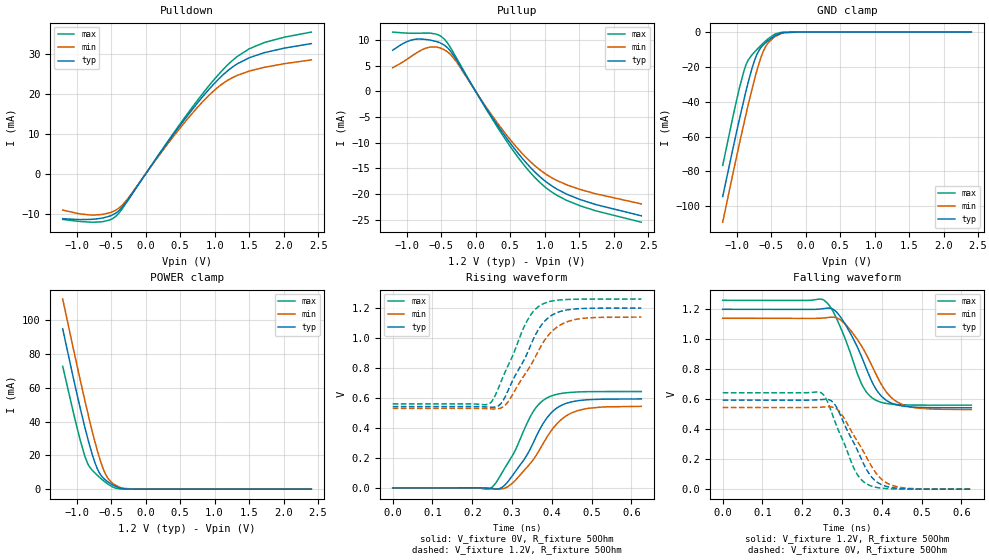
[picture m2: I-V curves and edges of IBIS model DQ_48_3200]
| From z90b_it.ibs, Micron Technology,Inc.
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| MODEL DQ_48_3200 (48 Ohm Data I/O with no ODT, 2933/3200Mbps)
[Model]   DQ_48_3200
Model_type   I/O
Vinl = 860.000mV
Vinh = 1060.000mV
Vmeas = 960.000mV
Vref = 1200.000mV
Cref = 0.0pF
Rref = 50.000Ohm
|   typ   min   max
|C_comp   1.049pF   0.999pF   1.100pF
C_comp_pullup   0.5245pF   0.4995pF   0.5500pF
C_comp_pulldown   0.5245pF   0.4995pF   0.5500pF
[Model Spec]
| Timing spec test load voltage corners
Vref   1.2000V   1.1400V   1.2600V
| Dynamic Overshoot Parameters from DDR4 Specification
|D_overshoot_ampl_h   0.40   NA   NA
|D_overshoot_ampl_l   0.40   NA   NA
|D_overshoot_area_h   0.0600n   NA   NA
|D_overshoot_area_l   0.0600n   NA   NA
[Voltage Range]   1.2000V   1.1400V   1.2600V
| Junction Temperature (Ambient temp is 35C typ, 95C min, -40C max)
[Temperature Range]   50.0   110.0   -40.0
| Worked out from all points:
|   slope of the pulldown table from 0 to 0.18 V, typ, clamps not added: 40.1 ohm
|   slope of the pullup table from 0 to 0.18 V, typ, clamps not added: 47.1 ohm
|   GND clamp passes 1 mA (typ) near -0.38 V on its own axis
|   POWER clamp passes 1 mA (typ) near -0.39 V on its own axis
|   falling waveform, V_fixture 1.2V, R_fixture 50Ohm: 20-80 % time 68.9ps typ, 77ps min, 60.1ps max; typ from 1.2 V to 0.543 V
|   rising waveform, V_fixture 0V, R_fixture 50Ohm: 20-80 % time 79.3ps typ, 87.9ps min, 73.7ps max; typ from 0 V to 0.594 V
|   rising waveform, V_fixture 1.2V, R_fixture 50Ohm: 20-80 % time 74.9ps typ, 83.4ps min, 68.1ps max; typ from 0.543 V to 1.2 V
|   falling waveform, V_fixture 0V, R_fixture 50Ohm: 20-80 % time 65.5ps typ, 71.6ps min, 58.3ps max; typ from 0.594 V to 0 V
[Pulldown]
|   Voltage   I(typ)   I(min)   I(max)
-1.2V     -11.19mA   -9.036mA   -11.37mA
-756mV    -11.32mA   -10.27mA   -12.07mA
-610.3mV  -10.98mA   -10.07mA   -11.91mA
-439mV    -9.882mA   -9.116mA   -10.72mA
-270mV    -6.804mA   -6.465mA   -6.985mA
313.2mV   7.736mA    7.367mA    7.95mA
744.8mV   17.62mA    16.55mA    18.28mA
991.1mV   22.56mA    20.86mA    23.6mA
1.205V    26.06mA    23.6mA     27.57mA
1.499V    29.07mA    25.73mA    31.3mA
1.717V    30.33mA    26.67mA    32.87mA
2.4V      32.63mA    28.55mA    35.5mA
[GND Clamp]
|   Voltage   I(typ)   I(min)   I(max)
-1.2V     -94.51mA   -109.2mA   -76.61mA
-991.4mV  -56.02mA   -70.17mA   -37.83mA
-886.3mV  -37.8mA    -51.36mA   -21.52mA
-858.5mV  -33.25mA   -46.56mA   -18.42mA
-739.2mV  -16.33mA   -27.13mA   -11.47mA
-646.9mV  -8.927mA   -14.7mA    -7.681mA
-585.5mV  -6.376mA   -8.839mA   -5.366mA
-545.6mV  -5.017mA   -6.322mA   -3.982mA
-459.1mV  -2.504mA   -3.107mA   -1.514mA
-316.8mV  -264.2uA   -500.5uA   -60.28uA
-118.9mV  -745.9nA   -5.845uA   0A
2.402V    0A         0A         0A
[Pullup]
|   Voltage   I(typ)   I(min)   I(max)
-1.2V     7.984mA    4.583mA    11.5mA
-861.4mV  10.13mA    7.411mA    11.27mA
-648.1mV  9.928mA    8.614mA    11.29mA
-457.9mV  9.002mA    8.1mA      10.21mA
-285.6mV  6.319mA    5.909mA    6.689mA
125.5mV   -2.689mA   -2.536mA   -2.847mA
456.9mV   -9.256mA   -8.657mA   -9.85mA
707.6mV   -13.52mA   -12.55mA   -14.44mA
933.2mV   -16.62mA   -15.29mA   -17.74mA
1.177V    -19.01mA   -17.33mA   -20.21mA
1.509V    -21.02mA   -19.06mA   -22.24mA
2.4V      -24.2mA    -21.88mA   -25.44mA
[POWER Clamp]
|   Voltage   I(typ)   I(min)   I(max)
-1.2V     94.96mA    112.6mA    72.78mA
-983.4mV  54.54mA    71.54mA    34.99mA
-885.6mV  37.75mA    53.73mA    20.39mA
-844.7mV  31.19mA    46.52mA    15.81mA
-761.5mV  19.19mA    32.55mA    10.75mA
-690mV    11.31mA    21.67mA    7.911mA
-610.6mV  6.555mA    11.8mA     5.054mA
-573mV    5.204mA    8.351mA    3.827mA
-474.2mV  2.445mA    3.365mA    1.256mA
-322.8mV  243.3uA    541uA      30.78uA
-118.9mV  410.4nA    5.836uA    0A
2.402V    0A         0A         0A
[Ramp]
R_load = 50
|   typ   min   max
dV/dt_r 3.5632E-01/7.9201E-11   3.2669E-01/8.7939E-11   3.8594E-01/7.3686E-11
dV/dt_f 3.9419E-01/6.8771E-11   3.6529E-01/7.6710E-11   4.1962E-01/6.0086E-11
[Falling Waveform]
V_fixture = 1.2V
V_fixture_min = 1.14V
V_fixture_max = 1.26V
R_fixture = 50Ohm
C_fixture = 0F
|   Time   V(typ)   V(min)   V(max)
0s        1.2V       1.14V      1.26V
244ps     1.202V     1.14V      1.268V
273ps     1.205V     1.147V     1.206V
291ps     1.167V     1.137V     1.11V
319ps     1.049V     1.068V     923.3mV
350ps     878.5mV    950.8mV    697.7mV
378ps     702mV      807.6mV    604.6mV
413ps     589.6mV    642.3mV    571.3mV
448ps     556.6mV    568.7mV    563.2mV
625ps     543mV      531.2mV    560.6mV
[Rising Waveform]
V_fixture = 0V
V_fixture_min = 0V
V_fixture_max = 0V
R_fixture = 50Ohm
C_fixture = 0F
|   Time   V(typ)   V(min)   V(max)
0s        2.39uV     20.13uV    271.1nV
236ps     -1.274mV   -279.8uV   -7.708mV
251ps     -5.874mV   -3.154mV   7.424mV
269ps     -3.832mV   -6.876mV   75.02mV
313ps     127.2mV    64.89mV    279.6mV
351ps     288.4mV    181mV      499.8mV
384ps     453.7mV    322.8mV    594.8mV
422ps     548.3mV    452.1mV    629.7mV
465ps     581.9mV    516.1mV    640.6mV
625ps     593.9mV    544.5mV    643.2mV
[Rising Waveform]
V_fixture = 1.2V
V_fixture_min = 1.14V
V_fixture_max = 1.26V
R_fixture = 50Ohm
C_fixture = 0F
|   Time   V(typ)   V(min)   V(max)
0s        542.9mV    530.9mV    560.6mV
232ps     541.1mV    529.5mV    554.9mV
248ps     538.6mV    527.7mV    573.6mV
261ps     541.9mV    527.8mV    636.8mV
289ps     643.9mV    570.9mV    811.3mV
335ps     879.8mV    768.7mV    1.101V
370ps     1.072V     932.6mV    1.216V
399ps     1.151V     1.041V     1.246V
440ps     1.189V     1.11V      1.257V
625ps     1.2V       1.14V      1.26V
[Falling Waveform]
|Gnd
V_fixture = 0V
V_fixture_min = 0V
V_fixture_max = 0V
R_fixture = 50Ohm
C_fixture = 0F
|   Time   V(typ)   V(min)   V(max)
0s        594.1mV    544.9mV    643.3mV
238ps     595.7mV    545.9mV    648.5mV
254ps     598.9mV    548.1mV    628.1mV
269ps     595mV      549.4mV    547.1mV
294ps     504.8mV    516.4mV    373.8mV
332ps     296.1mV    347.6mV    127.5mV
363ps     124.6mV    205.8mV    33.44mV
391ps     41.7mV     88.29mV    9.657mV
425ps     10.63mV    26.11mV    2.237mV
625ps     46.93uV    73.35uV    7.658uV
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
